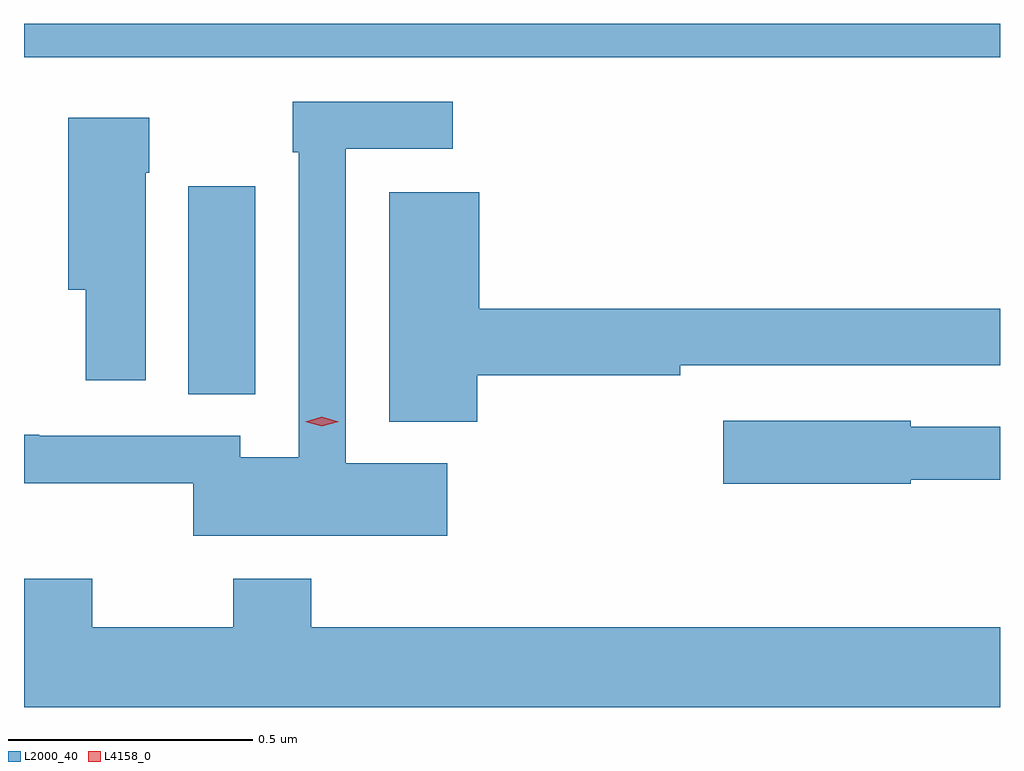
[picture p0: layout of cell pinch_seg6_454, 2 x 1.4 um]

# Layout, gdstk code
import gdstk
lib = gdstk.Library(unit=1e-6, precision=1e-09)
def R(c, l, rs):  # rectangles x0, y0, x1, y1
    for r in rs: c.add(gdstk.rectangle(r[:2], r[2:], *l))
def P(c, l, *ps):  # polygons
    for p in ps: c.add(gdstk.Polygon(p, *l))
L2000_40 = (2000, 40)
L4158_0 = (4158, 0)

pinch_seg6_454 = lib.new_cell('pinch_seg6_454')
R(pinch_seg6_454, L2000_40, [(707.474,921.337,707.611,921.763), (707.137,922.028,709.137,922.096)])
P(pinch_seg6_454, L2000_40, [(708.004,921.196),(707.796,921.196),(707.796,921.84),(708.016,921.84),(708.016,921.936),(707.688,921.936),(707.688,921.833),(707.7,921.833),(707.7,921.208),(707.58,921.208),(707.58,921.252),(707.168,921.252),(707.168,921.254),(707.137,921.254),(707.137,921.155),(707.484,921.155),(707.484,921.047),(708.004,921.047)],
  [(707.386,921.791),(707.394,921.791),(707.394,921.904),(707.228,921.904),(707.228,921.551),(707.264,921.551),(707.264,921.366),(707.386,921.366)],
  [(708.066,921.376),(708.482,921.376),(708.482,921.396),(709.137,921.396),(709.137,921.512),(708.07,921.512),(708.07,921.751),(707.885,921.751),(707.885,921.281),(708.066,921.281)],
  [(708.954,921.162),(709.137,921.162),(709.137,921.27),(708.954,921.27),(708.954,921.283),(708.57,921.283),(708.57,921.154),(708.954,921.154)],
  [(709.137,920.86),(707.726,920.86),(707.726,920.959),(707.566,920.959),(707.566,920.86),(707.277,920.86),(707.277,920.959),(707.137,920.959),(707.137,920.696),(709.137,920.696)])
P(pinch_seg6_454, L4158_0, [(707.747,921.271),(707.713,921.281),(707.712,921.281),(707.713,921.281),(707.747,921.291),(707.782,921.281),(707.782,921.281),(707.782,921.281)])

lib.write_gds('pinch_seg6_454.gds')
